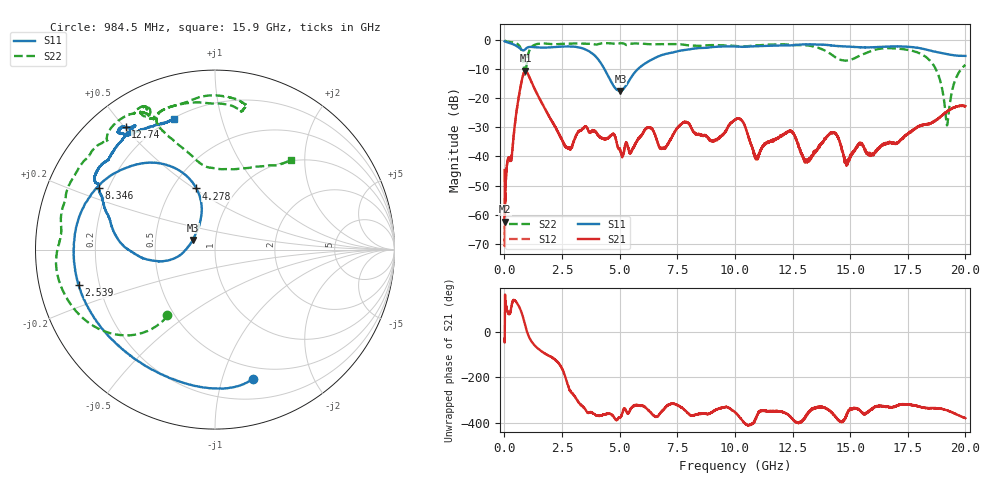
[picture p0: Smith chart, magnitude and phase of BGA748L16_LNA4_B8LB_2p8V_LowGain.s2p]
! S-Parameter file
! MATLAB S2P writer
! (c) DICE Linz
! Infineon Technologies
! Date: 08.04.2010 12:52
!BGA748L16_final_LB2
!2.80V; 0.00V;
!25.00 deg
# MHZ S MA R 50
!  S11  S21  S12  S22
!  f  mag  angle  mag  angle  mag  angle  mag  angle
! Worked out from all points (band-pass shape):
!   4001 points, 10 MHz to 20 GHz, reference 50 ohm
!   highest |S21| = -10.45 dB at 914.5 MHz (marker M1); lowest = -62.4 dB at 20 MHz (marker M2)
!   |S21| within 3 dB of the highest: 764.3 MHz to 1.126 GHz (361.3 MHz wide, 38.2 % of centre)
!   lowest |S11| = -17.5 dB at 5.037 GHz (marker M3), VSWR 1.31, Z = 38.9 + j4.3 ohm
!   |S11| at or under -10 dB: 4.351 GHz to 5.773 GHz (1.422 GHz wide, 28.1 % of centre)
!   |S22| runs from -29.3 to 0.0 dB; largest |S21 - S12| = 0.005
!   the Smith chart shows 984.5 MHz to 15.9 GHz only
!   S11 on the Smith chart (normalised r, x): 984.5 MHz: 0.39, -1.27; 2.539 GHz: 0.12, -0.13; 4.278 GHz: 0.66, +0.51; 8.346 GHz: 0.16, +0.24; 12.74 GHz: 0.11, +0.50; 15.9 GHz: 0.21, +0.71
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10  0.9667 -1.4  0.005844 -31.0  0.001041 -1.8  1.001 -4.0
19.995  0.9625 -2.7  0.0007563 29.3  0.0006551 140.2  0.9948 -8.2
254.8775  0.8989 -26.8  0.008831 83.9  0.008661 83.0  0.9384 -82.4
539.735  0.7973 -52.5  0.06468 126.3  0.0652 125.7  0.8816 -140.3
914.5475  0.71 -68.7  0.3003 22.9  0.3004 22.8  0.2711 -142.9
984.5125  0.7495 -73.5  0.284 -1.2  0.2841 -1.2  0.4526 -125.8
2538.735  0.7851 -165.3  0.01806 -168.8  0.0179 -169.6  0.8768 168.4
3343.332  0.7407 151.6  0.02854 37.4  0.02853 37.9  0.8842 149.6
4277.865  0.3558 106.9  0.02074 -1.7  0.0203 -3.0  0.8945 129.3
5037.485  0.1341 156.1  0.01201 -12.6  0.01224 -12.5  0.8951 117.9
6676.665  0.5314 175.5  0.01651 -6.0  0.01598 -6.8  0.8647 118.2
8345.83  0.7334 152.0  0.0242 -0.4  0.02426 -0.1  0.8113 115.7
10005  0.7898 143.1  0.0435 8.8  0.0432 8.7  0.8076 83.5
10934.53  0.7966 132.5  0.009052 -14.4  0.009237 -12.2  0.8236 77.8
12743.63  0.8442 126.1  0.01617 -36.7  0.01603 -38.0  0.8331 106.3
13338.33  0.8557 128.3  0.01047 24.6  0.01002 22.6  0.7988 114.1
14252.88  0.817 128.1  0.02631 1.9  0.02584 1.9  0.5498 104.6
15897.05  0.7629 107.4  0.01039 18.8  0.01095 19.1  0.6548 49.8
16671.67  0.7859 101.8  0.01675 30.3  0.01723 31.1  0.7353 52.3
18495.75  0.6681 95.3  0.03715 26.0  0.03749 26.7  0.4359 77.0
19205.4  0.582 84.9  0.05974 16.6  0.0596 16.9  0.03431 153.6
20000  0.5415 61.4  0.0739 -17.0  0.07368 -16.5  0.3804 -126.0
